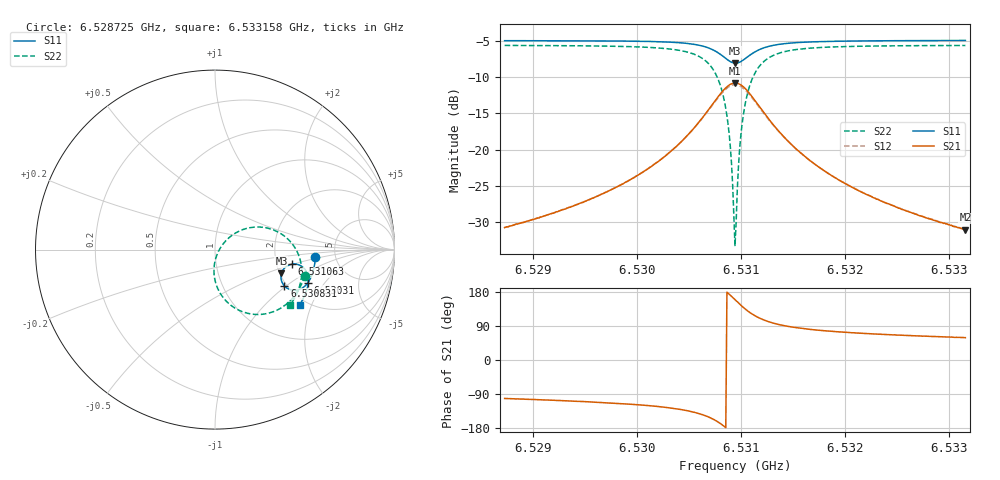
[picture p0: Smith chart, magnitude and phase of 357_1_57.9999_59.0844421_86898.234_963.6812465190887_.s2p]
#  HZ  S  RI  R  50.00
! Rohde & Schwarz Vector Network Analyzer
! Rohde-Schwarz,ZNB20-2Port,1311601062101988,3.16
! Created: UTC 3/21/2024, 1:06:15 AM
! freq[Hz]  re:S11  im:S11  re:S21  im:S21  re:S12  im:S12  re:S22  im:S22
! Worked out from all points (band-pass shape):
!   401 points, 6.528725 GHz to 6.533158 GHz, reference 50 ohm
!   highest |S21| = -10.83 dB at 6.530942 GHz (marker M1); lowest = -31.0 dB at 6.533158 GHz (marker M2)
!   |S21| within 3 dB of the highest: 6.530721 GHz to 6.531164 GHz (442.1 kHz wide, 0.00677 % of centre)
!   lowest |S11| = -8.1 dB at 6.530942 GHz (marker M3), VSWR 2.30, Z = 102 - j32 ohm
!   |S11| at or under -10 dB: nowhere
!   |S22| runs from -33.3 to -5.7 dB; largest |S21 - S12| = 0.011
!   S11 on the Smith chart (normalised r, x): 6.528725 GHz: 3.50, -0.43; 6.53031 GHz: 2.60, -1.39; 6.530831 GHz: 1.94, -0.97; 6.531063 GHz: 2.43, -0.49; 6.533158 GHz: 1.82, -1.65
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6.5287254e9  0.5599 -0.0424  -0.00579 -0.0285  -0.00633 -0.0286  0.5003 -0.1456
6.5294678e9  0.5508 -0.1033  -0.0144 -0.0408  -0.0154 -0.0405  0.4717 -0.2128
6.5302102e9  0.5243 -0.1747  -0.0457 -0.0701  -0.0475 -0.0691  0.3957 -0.306
6.5303099e9  0.5166 -0.1863  -0.0564 -0.0771  -0.0584 -0.0756  0.3727 -0.3222
6.5306645e9  0.454 -0.2259  -0.1518 -0.0953  -0.154 -0.0895  0.1911 -0.3569
6.5307643e9  0.4155 -0.2217  -0.2119 -0.0722  -0.2116 -0.0638  0.0883 -0.3101
6.5308308e9  0.3865 -0.202  -0.2548 -0.0284  -0.2509 -0.0193  0.0214 -0.2295
6.530864e9  0.375 -0.1851  -0.2706 0.00504  -0.2644 0.0135  1.23e-05 -0.1711
6.5308862e9  0.3699 -0.1713  -0.2767 0.0314  -0.2689 0.0389  -0.00583 -0.1265
6.5309194e9  0.3677 -0.1483  -0.2759 0.0739  -0.2668 0.0793  0.00194 -0.0564
6.5309305e9  0.3685 -0.1405  -0.273 0.0882  -0.2634 0.0926  0.00923 -0.0334
6.5309416e9  0.3704 -0.1327  -0.2685 0.1022  -0.2589 0.1059  0.0187 -0.0111
6.5309526e9  0.373 -0.1253  -0.2626 0.1157  -0.253 0.1185  0.0303 0.0101
6.5309637e9  0.3764 -0.118  -0.2556 0.1285  -0.246 0.1303  0.044 0.0302
6.5309859e9  0.3853 -0.1052  -0.2379 0.1514  -0.2289 0.1516  0.0765 0.065
6.531008e9  0.3963 -0.0948  -0.2172 0.1697  -0.2088 0.1688  0.1137 0.092
6.5310635e9  0.4277 -0.0812  -0.1603 0.195  -0.1547 0.1924  0.2121 0.1244
6.531141e9  0.466 -0.0845  -0.0926 0.1931  -0.0896 0.1905  0.3259 0.1095
6.5312518e9  0.4986 -0.107  -0.0356 0.1635  -0.0341 0.1621  0.4187 0.0455
6.531684e9  0.5198 -0.1829  0.0138 0.0809  0.0149 0.0805  0.4829 -0.1306
6.5324264e9  0.4996 -0.2556  0.0166 0.0388  0.0172 0.0385  0.4552 -0.2458
6.5331578e9  0.4713 -0.3091  0.0145 0.0242  0.0151 0.024  0.4196 -0.3081
